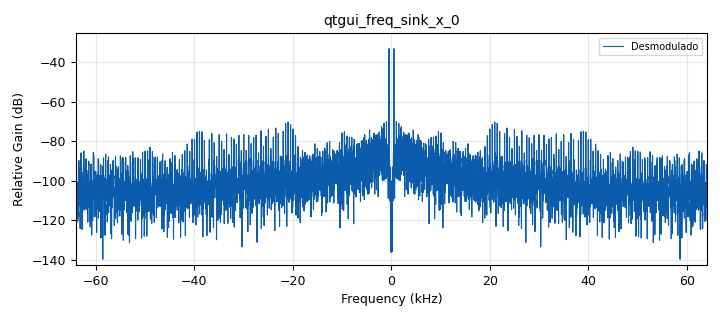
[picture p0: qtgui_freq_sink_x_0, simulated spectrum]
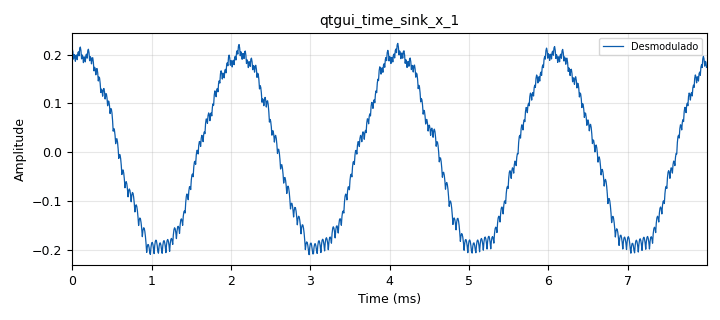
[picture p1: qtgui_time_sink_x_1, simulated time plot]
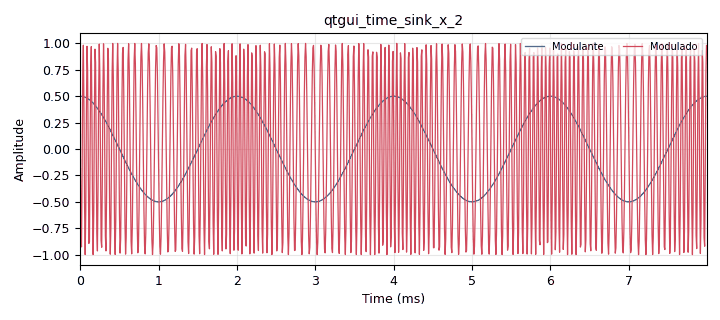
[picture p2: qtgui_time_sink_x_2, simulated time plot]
<?xml version='1.0' encoding='utf-8'?>
<?grc format='1' created='3.7.11'?>
<flow_graph>
<block>
<key>options</key>
<param><key>id</key><value>Labo4_3</value></param>
<param><key>category</key><value>Custom</value></param>
<param><key>generate_options</key><value>qt_gui</value></param>
<param><key>title</key><value>Desmodulacao com PLL</value></param>
</block>
<block>
<key>variable</key>
<param><key>id</key><value>samp_rate</value></param>
<param><key>value</key><value>32000*4</value></param>
</block>
<block>
<key>analog_pll_freqdet_cf</key>
<param><key>id</key><value>analog_pll_freqdet_cf_0</value></param>
<param><key>w</key><value>3.1416/60</value></param>
<param><key>max_freq</key><value>2*3.1416*30000/samp_rate</value></param>
<param><key>min_freq</key><value>2*3.1416*10000/samp_rate</value></param>
</block>
<block>
<key>analog_sig_source_x</key>
<param><key>id</key><value>analog_sig_source_x_0</value></param>
<param><key>amp</key><value>0.5</value></param>
<param><key>freq</key><value>500</value></param>
<param><key>offset</key><value>0</value></param>
<param><key>type</key><value>float</value></param>
<param><key>samp_rate</key><value>samp_rate</value></param>
<param><key>waveform</key><value>analog.GR_SIN_WAVE</value></param>
</block>
<block>
<key>blocks_add_const_vxx</key>
<param><key>id</key><value>blocks_add_const_vxx_0</value></param>
<param><key>const</key><value>1.5</value></param>
<param><key>type</key><value>float</value></param>
</block>
<block>
<key>blocks_float_to_complex</key>
<param><key>id</key><value>blocks_float_to_complex_0</value></param>
</block>
<block>
<key>blocks_throttle</key>
<param><key>id</key><value>blocks_throttle_0</value></param>
<param><key>samples_per_second</key><value>samp_rate</value></param>
<param><key>type</key><value>float</value></param>
</block>
<block>
<key>blocks_vco_f</key>
<param><key>id</key><value>blocks_vco_f_0</value></param>
<param><key>amplitude</key><value>1</value></param>
<param><key>samp_rate</key><value>samp_rate</value></param>
<param><key>sensitivity</key><value>6.28*10**4</value></param>
</block>
<block>
<key>dc_blocker_xx</key>
<param><key>id</key><value>dc_blocker_xx_0</value></param>
<param><key>length</key><value>128</value></param>
<param><key>long_form</key><value>True</value></param>
<param><key>type</key><value>ff</value></param>
</block>
<block>
<key>qtgui_freq_sink_x</key>
<param><key>id</key><value>qtgui_freq_sink_x_0</value></param>
<param><key>autoscale</key><value>True</value></param>
<param><key>bw</key><value>samp_rate</value></param>
<param><key>fc</key><value>0</value></param>
<param><key>fftsize</key><value>1024*15</value></param>
<param><key>grid</key><value>True</value></param>
<param><key>label1</key><value>Desmodulado</value></param>
<param><key>name</key><value></value></param>
<param><key>showports</key><value>True</value></param>
<param><key>type</key><value>float</value></param>
<param><key>wintype</key><value>firdes.WIN_FLATTOP</value></param>
</block>
<block>
<key>qtgui_time_sink_x</key>
<param><key>id</key><value>qtgui_time_sink_x_1</value></param>
<param><key>autoscale</key><value>True</value></param>
<param><key>grid</key><value>True</value></param>
<param><key>color1</key><value>"blue"</value></param>
<param><key>label1</key><value>Desmodulado</value></param>
<param><key>name</key><value></value></param>
<param><key>size</key><value>1024</value></param>
<param><key>srate</key><value>samp_rate</value></param>
<param><key>type</key><value>float</value></param>
</block>
<block>
<key>qtgui_time_sink_x</key>
<param><key>id</key><value>qtgui_time_sink_x_2</value></param>
<param><key>autoscale</key><value>True</value></param>
<param><key>entags</key><value>False</value></param>
<param><key>color1</key><value>"blue"</value></param>
<param><key>label1</key><value>Modulante</value></param>
<param><key>color2</key><value>"red"</value></param>
<param><key>label2</key><value>Modulado</value></param>
<param><key>name</key><value></value></param>
<param><key>nconnections</key><value>2</value></param>
<param><key>size</key><value>1024</value></param>
<param><key>srate</key><value>samp_rate</value></param>
<param><key>type</key><value>float</value></param>
</block>
<connection><source_block_id>analog_pll_freqdet_cf_0</source_block_id><sink_block_id>dc_blocker_xx_0</sink_block_id><source_key>0</source_key><sink_key>0</sink_key></connection>
<connection><source_block_id>analog_sig_source_x_0</source_block_id><sink_block_id>blocks_throttle_0</sink_block_id><source_key>0</source_key><sink_key>0</sink_key></connection>
<connection><source_block_id>blocks_add_const_vxx_0</source_block_id><sink_block_id>blocks_vco_f_0</sink_block_id><source_key>0</source_key><sink_key>0</sink_key></connection>
<connection><source_block_id>blocks_float_to_complex_0</source_block_id><sink_block_id>analog_pll_freqdet_cf_0</sink_block_id><source_key>0</source_key><sink_key>0</sink_key></connection>
<connection><source_block_id>blocks_throttle_0</source_block_id><sink_block_id>blocks_add_const_vxx_0</sink_block_id><source_key>0</source_key><sink_key>0</sink_key></connection>
<connection><source_block_id>blocks_throttle_0</source_block_id><sink_block_id>qtgui_time_sink_x_2</sink_block_id><source_key>0</source_key><sink_key>0</sink_key></connection>
<connection><source_block_id>blocks_vco_f_0</source_block_id><sink_block_id>blocks_float_to_complex_0</sink_block_id><source_key>0</source_key><sink_key>0</sink_key></connection>
<connection><source_block_id>blocks_vco_f_0</source_block_id><sink_block_id>qtgui_time_sink_x_2</sink_block_id><source_key>0</source_key><sink_key>1</sink_key></connection>
<connection><source_block_id>dc_blocker_xx_0</source_block_id><sink_block_id>qtgui_freq_sink_x_0</sink_block_id><source_key>0</source_key><sink_key>0</sink_key></connection>
<connection><source_block_id>dc_blocker_xx_0</source_block_id><sink_block_id>qtgui_time_sink_x_1</sink_block_id><source_key>0</source_key><sink_key>0</sink_key></connection>
</flow_graph>
